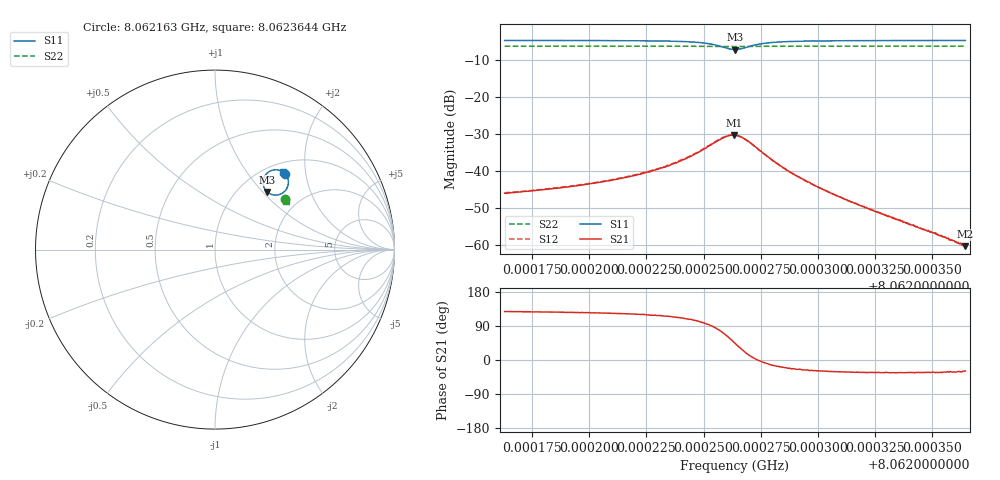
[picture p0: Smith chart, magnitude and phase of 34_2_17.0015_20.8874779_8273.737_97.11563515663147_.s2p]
#  HZ  S  RI  R  50.00
! Rohde & Schwarz Vector Network Analyzer
! Rohde-Schwarz,ZNB20-2Port,1311601062101988,3.16
! Created: UTC 3/20/2024, 10:53:37 PM
! freq[Hz]  re:S11  im:S11  re:S21  im:S21  re:S12  im:S12  re:S22  im:S22
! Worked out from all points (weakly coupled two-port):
!   401 points, 8.062163 GHz to 8.0623644 GHz, reference 50 ohm
!   highest |S21| = -30.33 dB at 8.0622632 GHz (marker M1); lowest = -60.3 dB at 8.0623644 GHz (marker M2)
!   lowest |S11| = -7.3 dB at 8.0622637 GHz (marker M3), VSWR 2.53, Z = 67 + j53.1 ohm
!   |S11| at or under -10 dB: nowhere
!   |S22| runs from -6.5 to -6.3 dB; largest |S21 - S12| = 0.0028
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8.06216305e9  0.3893 0.4232  -0.00309 0.00394  -0.00281 0.00416  0.3912 0.2813
8.06219678e9  0.3955 0.4158  -0.00371 0.00528  -0.00343 0.0056  0.3924 0.2795
8.06221742e9  0.4009 0.4067  -0.00441 0.00713  -0.00401 0.00749  0.3931 0.2781
8.06223051e9  0.4056 0.3955  -0.005 0.0095  -0.00434 0.00996  0.3935 0.277
8.06223404e9  0.4067 0.3909  -0.00506 0.0105  -0.00436 0.0111  0.3937 0.2765
8.0622426e9  0.4087 0.3737  -0.00468 0.014  -0.00398 0.0146  0.3938 0.2753
8.06225216e9  0.398 0.3367  -0.00131 0.0215  0.000268 0.022  0.393 0.2735
8.06225569e9  0.3804 0.3177  0.00303 0.0248  0.00507 0.0249  0.3921 0.273
8.06225921e9  0.3471 0.3042  0.0104 0.0266  0.0129 0.0261  0.3906 0.2729
8.06226122e9  0.3217 0.3055  0.0157 0.0255  0.0181 0.0244  0.3895 0.2732
8.06226324e9  0.2963 0.3172  0.0207 0.0223  0.0227 0.0205  0.3888 0.2739
8.06226374e9  0.2909 0.3217  0.0218 0.0212  0.0236 0.0192  0.3889 0.2743
8.06226777e9  0.2677 0.3693  0.0251 0.0104  0.0259 0.00836  0.3887 0.2763
8.0622718e9  0.2769 0.4094  0.0222 0.00217  0.0221 0.000502  0.3898 0.2775
8.06227583e9  0.2957 0.4306  0.0175 -0.0017  0.0173 -0.00293  0.3911 0.2779
8.06228086e9  0.3161 0.4412  0.0131 -0.00343  0.0127 -0.00419  0.3921 0.2778
8.06228741e9  0.3342 0.4447  0.00915 -0.0036  0.00891 -0.00418  0.3932 0.2773
8.06229747e9  0.3504 0.4437  0.00591 -0.00308  0.00567 -0.00345  0.3941 0.2766
8.06231308e9  0.3635 0.4402  0.00343 -0.0021  0.00326 -0.00225  0.395 0.2756
8.06233121e9  0.3715 0.4366  0.00202 -0.00136  0.00198 -0.00148  0.3959 0.2745
8.06235135e9  0.3768 0.4335  0.00119 -0.000786  0.00119 -0.00087  0.3966 0.2733
8.06236444e9  0.3793 0.4318  0.000849 -0.000468  0.000819 -0.000543  0.397 0.2727
